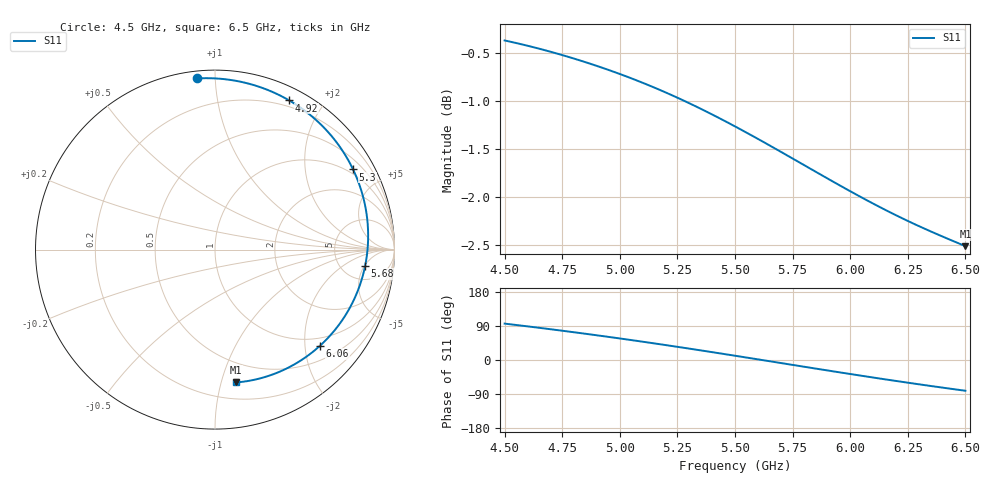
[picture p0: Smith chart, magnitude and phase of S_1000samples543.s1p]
! TOUCHSTONE file generated by CST MICROWAVE STUDIO
! Date and time: Fri Oct 28 13:02:46 2022
! Project name: L.cst
! Parameters = {Di=1.27; Epsilon_r=1.56; InnerDiameter=1.27; Length=2; Lf=10; Lg=60; OuterConductorThickness=0.2921; OuterDiameter=3.6; Wf=3; Wp=41.2; de=1.5; df=6.8; g=0.8; gx=1.03795; gy=4.8819; h=2.34; hf=1.524; px=8.02879; py=8.96093; w=9.7; wx=6.99084; wy=4.07903}
! Header version: 2018
! Port assignment regex: !\s*Touchstone port\s*([0-9]+)\s*=\s*(CST MWS port|CST DS port)\s*([0-9]+|Zmin|Zmax)\s*\(\"(.*)\"\)(\s*mode\s*([0-9]+))?.*
! Touchstone port assignment:
! Touchstone port 1 = CST MWS port 1 ("")
# GHz S DB R 50
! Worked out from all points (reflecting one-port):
!   101 points, 4.5 GHz to 6.5 GHz, reference 50 ohm
!   lowest |S11| = -2.5 dB at 6.5 GHz (marker M1), VSWR 6.97, Z = 16.5 - j55.6 ohm
!   phase of S11 starts at 96 deg and turns -177 deg over the sweep
!   S11 on the Smith chart (normalised r, x): 4.5 GHz: 0.04, +0.90; 4.92 GHz: 0.13, +1.61; 5.3 GHz: 0.83, +3.53; 5.68 GHz: 8.40, -5.17; 6.06 GHz: 0.81, -2.33; 6.5 GHz: 0.33, -1.11
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4.5  -0.37 96.0
4.58  -0.41 90.2
4.64  -0.44 85.7
4.7  -0.48 81.1
4.76  -0.52 76.5
4.84  -0.58 70.1
4.92  -0.65 63.6
5  -0.71 56.8
5.06  -0.77 51.7
5.12  -0.83 46.4
5.2  -0.91 39.3
5.26  -0.97 33.8
5.3  -1.02 30.1
5.4  -1.14 20.8
5.5  -1.26 11.3
5.58  -1.36 3.6
5.68  -1.50 -6.1
5.76  -1.61 -13.9
5.82  -1.69 -19.7
5.88  -1.77 -25.5
6  -1.94 -36.9
6.06  -2.01 -42.6
6.16  -2.14 -51.8
6.26  -2.26 -60.7
6.32  -2.32 -66.0
6.38  -2.39 -71.1
6.44  -2.45 -76.2
6.5  -2.51 -81.2
